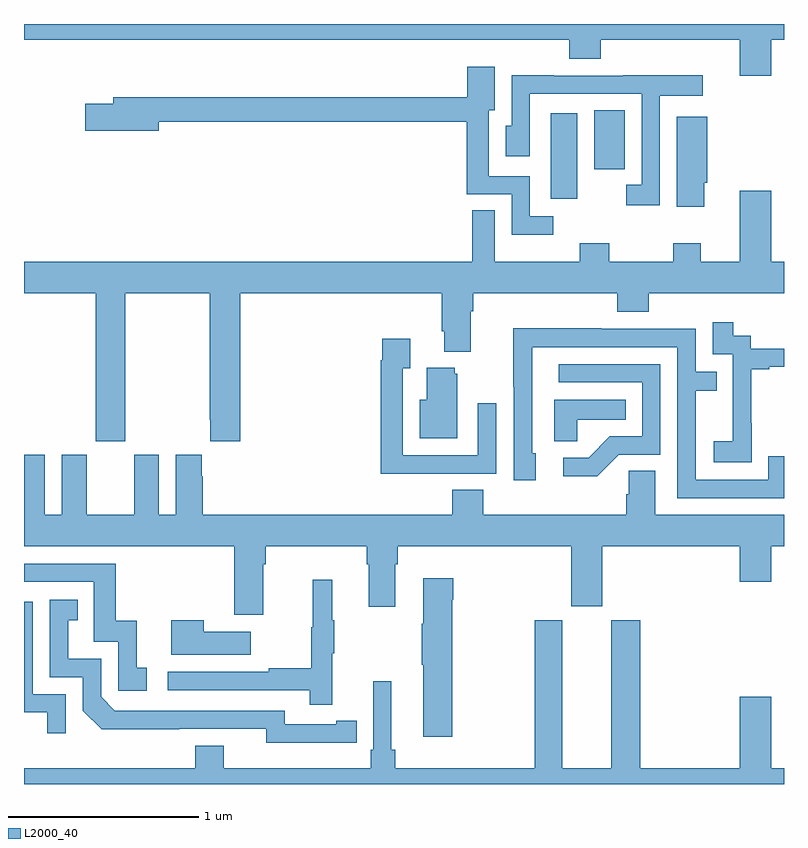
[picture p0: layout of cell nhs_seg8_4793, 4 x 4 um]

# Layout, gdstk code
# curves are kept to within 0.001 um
import gdstk
lib = gdstk.Library(unit=1e-6, precision=1e-09)
def R(c, l, rs):  # rectangles x0, y0, x1, y1
    for r in rs: c.add(gdstk.rectangle(r[:2], r[2:], *l))
def P(c, l, *ps):  # polygons
    for p in ps: c.add(gdstk.Polygon(p, *l))
L2000_40 = (2000, 40)

nhs_seg8_4793 = lib.new_cell('nhs_seg8_4793')
R(nhs_seg8_4793, L2000_40, [(403.772,1132.98,403.912,1133.431), (404,1133.136,404.161,1133.447)])
P(nhs_seg8_4793, L2000_40, [(404.932,1133.816),(405,1133.816),(405,1133.9),(401,1133.9),(401,1133.816),(403.871,1133.816),(403.871,1133.717),(404.036,1133.717),(404.036,1133.816),(404.768,1133.816),(404.768,1133.628),(404.932,1133.628)],
  [(403.786,1132.887),(403.662,1132.887),(403.662,1133.1),(403.447,1133.1),(403.447,1133.445),(403.477,1133.445),(403.477,1133.674),(403.334,1133.674),(403.334,1133.515),(401.471,1133.515),(401.471,1133.481),(401.322,1133.481),(401.322,1133.339),(401.71,1133.339),(401.71,1133.386),(403.329,1133.386),(403.329,1133.004),(403.566,1133.004),(403.566,1132.79),(403.786,1132.79)],
  [(404.346,1133.522),(404.572,1133.522),(404.572,1133.63),(404.153,1133.63),(404.153,1133.628),(403.787,1133.628),(403.787,1133.63),(403.566,1133.63),(403.566,1133.364),(403.535,1133.364),(403.535,1133.205),(403.662,1133.205),(403.662,1133.532),(404.25,1133.532),(404.25,1133.055),(404.169,1133.055),(404.169,1132.947),(404.346,1132.947)],
  [(404.581,1133.064),(404.596,1133.064),(404.596,1133.413),(404.435,1133.413),(404.435,1132.938),(404.581,1132.938)],
  [(401.532,1132.484),(401.977,1132.484),(401.977,1131.817),(401.981,1131.817),(401.981,1131.705),(402.137,1131.705),(402.137,1132.484),(403.199,1132.484),(403.199,1132.282),(403.211,1132.282),(403.211,1132.175),(403.351,1132.175),(403.351,1132.388),(403.364,1132.388),(403.364,1132.484),(404.123,1132.484),(404.123,1132.385),(404.288,1132.385),(404.288,1132.484),(405,1132.484),(405,1132.648),(404.932,1132.648),(404.932,1133.023),(404.768,1133.023),(404.768,1132.648),(404.563,1132.648),(404.563,1132.747),(404.416,1132.747),(404.416,1132.648),(404.079,1132.648),(404.079,1132.747),(403.924,1132.747),(403.924,1132.648),(403.477,1132.648),(403.477,1132.919),(403.359,1132.919),(403.359,1132.648),(401,1132.648),(401,1132.484),(401.377,1132.484),(401.377,1131.705),(401.532,1131.705)],
  [(404.829,1131.799),(404.828,1131.799),(404.828,1132.083),(404.923,1132.083),(404.923,1132.095),(405,1132.095),(405,1132.191),(404.826,1132.191),(404.826,1132.26),(404.734,1132.26),(404.734,1132.33),(404.625,1132.33),(404.625,1132.161),(404.73,1132.161),(404.73,1131.932),(404.729,1131.932),(404.729,1131.703),(404.631,1131.703),(404.631,1131.593),(404.829,1131.593)],
  [(405,1131.624),(404.916,1131.624),(404.916,1131.501),(404.535,1131.501),(404.535,1131.97),(404.645,1131.97),(404.645,1132.071),(404.535,1132.071),(404.535,1132.296),(404.039,1132.296),(404.039,1132.298),(403.576,1132.298),(403.576,1131.991),(403.578,1131.991),(403.578,1131.498),(403.693,1131.498),(403.693,1131.642),(403.674,1131.642),(403.674,1132.2),(404.439,1132.2),(404.439,1131.405),(405,1131.405)],
  [(403.169,1131.534),(403.485,1131.534),(403.485,1131.904),(403.389,1131.904),(403.389,1131.63),(402.993,1131.63),(402.993,1132.087),(403.033,1132.087),(403.033,1132.243),(402.885,1132.243),(402.885,1132.13),(402.877,1132.13),(402.877,1131.533),(403.169,1131.533)],
  [(404.13,1131.633),(404.349,1131.633),(404.349,1132.11),(403.815,1132.11),(403.815,1132.014),(404.253,1132.014),(404.253,1131.729),(404.084,1131.729),(403.973,1131.618),(403.839,1131.618),(403.839,1131.521),(404.017,1131.521)],
  [(403.279,1132.059),(403.268,1132.059),(403.268,1132.09),(403.121,1132.09),(403.121,1131.922),(403.082,1131.922),(403.082,1131.719),(403.279,1131.719)],
  [(403.911,1131.818),(404.168,1131.818),(404.168,1131.922),(403.79,1131.922),(403.79,1131.703),(403.911,1131.703)],
  [(404.768,1130.964),(404.932,1130.964),(404.932,1131.152),(405,1131.152),(405,1131.316),(404.323,1131.316),(404.323,1131.548),(404.184,1131.548),(404.184,1131.425),(404.171,1131.425),(404.171,1131.316),(403.418,1131.316),(403.418,1131.449),(403.253,1131.449),(403.253,1131.316),(401.942,1131.316),(401.942,1131.521),(401.935,1131.521),(401.935,1131.634),(401.798,1131.634),(401.798,1131.316),(401.71,1131.316),(401.71,1131.634),(401.579,1131.634),(401.579,1131.316),(401.329,1131.316),(401.329,1131.634),(401.198,1131.634),(401.198,1131.316),(401.11,1131.316),(401.11,1131.634),(401,1131.634),(401,1131.152),(402.107,1131.152),(402.107,1130.79),(402.259,1130.79),(402.259,1131.056),(402.272,1131.056),(402.272,1131.152),(402.803,1131.152),(402.803,1131.056),(402.815,1131.056),(402.815,1130.832),(402.955,1130.832),(402.955,1131.056),(402.968,1131.056),(402.968,1131.152),(403.88,1131.152),(403.88,1130.835),(404.044,1130.835),(404.044,1131.152),(404.768,1131.152)],
  [(401.647,1130.511),(401.594,1130.511),(401.594,1130.758),(401.483,1130.758),(401.483,1131.06),(401,1131.06),(401,1130.964),(401.367,1130.964),(401.367,1130.649),(401.496,1130.649),(401.496,1130.391),(401.647,1130.391)],
  [(403.254,1130.87),(403.259,1130.87),(403.259,1130.983),(403.1,1130.983),(403.1,1130.744),(403.093,1130.744),(403.093,1130.527),(403.1,1130.527),(403.1,1130.148),(403.254,1130.148)],
  [(402.623,1130.587),(402.634,1130.587),(402.634,1130.761),(402.623,1130.761),(402.623,1130.974),(402.52,1130.974),(402.52,1130.724),(402.513,1130.724),(402.513,1130.51),(402.289,1130.51),(402.289,1130.49),(401.757,1130.49),(401.757,1130.394),(402.505,1130.394),(402.505,1130.316),(402.623,1130.316)],
  [(402.644,1130.118),(402.752,1130.118),(402.752,1130.234),(402.644,1130.234),(402.644,1130.214),(402.372,1130.214),(402.372,1130.286),(401.478,1130.286),(401.406,1130.358),(401.406,1130.559),(401.233,1130.559),(401.233,1130.763),(401.282,1130.763),(401.282,1130.869),(401.136,1130.869),(401.136,1130.463),(401.31,1130.463),(401.31,1130.286),(401.408,1130.189),(402.276,1130.19),(402.276,1130.117)],
  [(401.22,1130.373),(401.046,1130.373),(401.046,1130.859),(401,1130.859),(401,1130.277),(401.123,1130.277),(401.123,1130.166),(401.22,1130.166)],
  [(405,1129.984),(404.932,1129.984),(404.932,1130.359),(404.768,1130.359),(404.768,1129.984),(404.243,1129.984),(404.243,1130.763),(404.09,1130.763),(404.09,1129.984),(403.834,1129.984),(403.834,1130.763),(403.687,1130.763),(403.687,1129.984),(402.953,1129.984),(402.953,1130.08),(402.934,1130.08),(402.934,1130.44),(402.837,1130.44),(402.837,1130.08),(402.824,1130.08),(402.824,1129.984),(402.052,1129.984),(402.052,1130.101),(401.9,1130.101),(401.9,1129.984),(401,1129.984),(401,1129.9),(405,1129.9)],
  [(402.193,1130.701),(401.945,1130.701),(401.945,1130.761),(401.774,1130.761),(401.774,1130.579),(402.193,1130.579)])

lib.write_gds('nhs_seg8_4793.gds')
